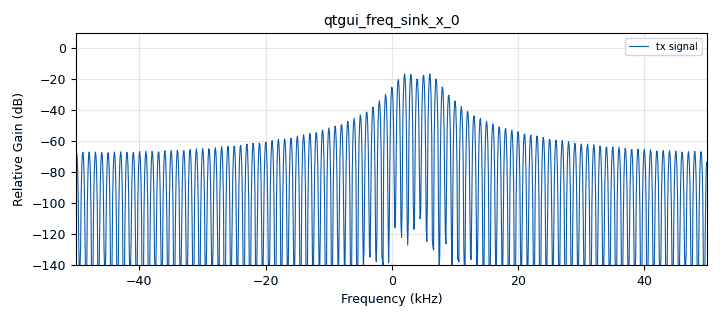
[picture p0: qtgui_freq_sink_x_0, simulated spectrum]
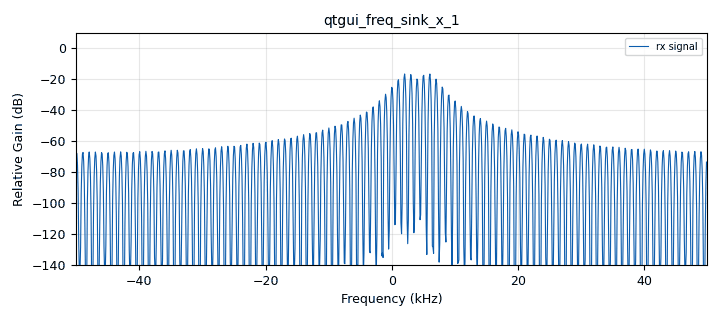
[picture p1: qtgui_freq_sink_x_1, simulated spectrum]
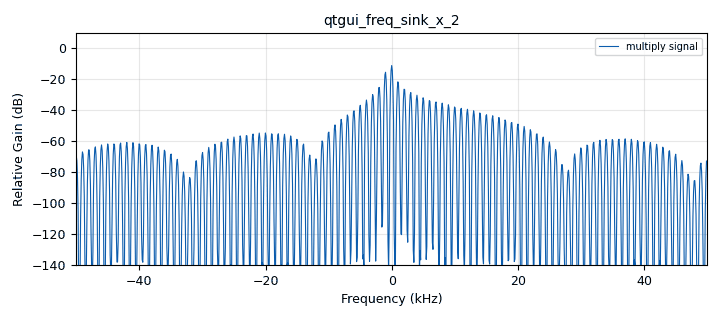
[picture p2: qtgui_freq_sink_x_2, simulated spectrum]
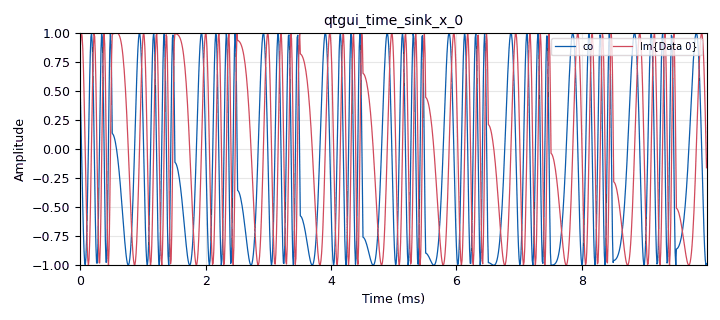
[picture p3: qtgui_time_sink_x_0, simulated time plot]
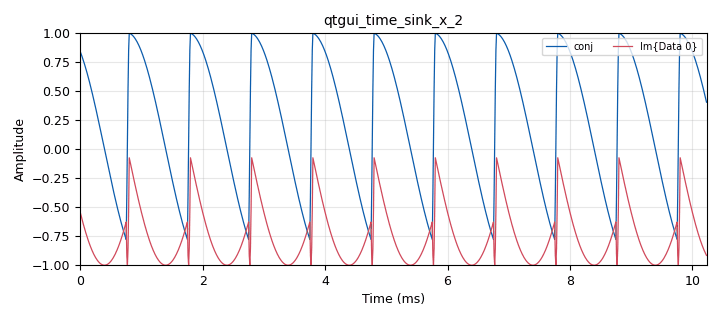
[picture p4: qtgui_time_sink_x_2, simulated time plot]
options:
  parameters:
    author: Preethi
    generate_options: qt_gui
    id: oct3
    output_language: python
    title: Not titled yet
  states: {}

blocks:
- name: samp_rate
  id: variable
  parameters:
    value: '100000'
  states: {}
- name: analog_sig_source_x_0
  id: analog_sig_source_x
  parameters:
    amp: '1'
    freq: '1000'
    offset: '0'
    phase: '0'
    samp_rate: samp_rate
    type: float
    waveform: analog.GR_SAW_WAVE
  states: {}
- name: blocks_delay_0
  id: blocks_delay
  parameters:
    delay: '5'
    type: complex
  states: {}
- name: blocks_file_sink_0
  id: blocks_file_sink
  parameters:
    file: C:\Users\Preethi\Desktop\SDR\beat.dat
    type: complex
  states: {}
- name: blocks_multiply_conjugate_cc_0
  id: blocks_multiply_conjugate_cc
  parameters: {}
  states: {}
- name: blocks_throttle2_0
  id: blocks_throttle2
  parameters:
    samples_per_second: samp_rate
    type: float
  states: {}
- name: blocks_vco_c_0
  id: blocks_vco_c
  parameters:
    amplitude: '1'
    samp_rate: 100e3
    sensitivity: '50265'
  states: {}
- name: qtgui_freq_sink_x_0
  id: qtgui_freq_sink_x
  parameters:
    bw: samp_rate
    fc: '0'
    fftsize: '1024'
    label1: tx signal
    type: complex
  states: {}
- name: qtgui_freq_sink_x_1
  id: qtgui_freq_sink_x
  parameters:
    bw: samp_rate
    fc: '0'
    fftsize: '1024'
    label1: rx signal
    type: complex
  states: {}
- name: qtgui_freq_sink_x_2
  id: qtgui_freq_sink_x
  parameters:
    bw: samp_rate
    fc: '0'
    fftsize: '1024'
    label1: multiply signal
    type: complex
  states: {}
- name: qtgui_time_sink_x_0
  id: qtgui_time_sink_x
  parameters:
    label1: co
    size: '1000'
    srate: samp_rate
    type: complex
  states: {}
- name: qtgui_time_sink_x_2
  id: qtgui_time_sink_x
  parameters:
    label1: conj
    size: '1024'
    srate: samp_rate
    type: complex
  states: {}
- name: virtual_sink_0
  id: virtual_sink
  parameters:
    stream_id: tx_chirp
  states: {}
- name: virtual_sink_1
  id: virtual_sink
  parameters:
    stream_id: rx_chirp
  states: {}
- name: virtual_source_0
  id: virtual_source
  parameters:
    stream_id: tx_chirp
  states: {}
- name: virtual_source_0_0
  id: virtual_source
  parameters:
    stream_id: rx_chirp
  states: {}

connections:
- [analog_sig_source_x_0, '0', blocks_throttle2_0, '0']
- [blocks_delay_0, '0', qtgui_freq_sink_x_1, '0']
- [blocks_delay_0, '0', virtual_sink_1, '0']
- [blocks_multiply_conjugate_cc_0, '0', blocks_file_sink_0, '0']
- [blocks_multiply_conjugate_cc_0, '0', qtgui_freq_sink_x_2, '0']
- [blocks_multiply_conjugate_cc_0, '0', qtgui_time_sink_x_2, '0']
- [blocks_throttle2_0, '0', blocks_vco_c_0, '0']
- [blocks_vco_c_0, '0', qtgui_freq_sink_x_0, '0']
- [blocks_vco_c_0, '0', qtgui_time_sink_x_0, '0']
- [blocks_vco_c_0, '0', virtual_sink_0, '0']
- [virtual_source_0, '0', blocks_delay_0, '0']
- [virtual_source_0, '0', blocks_multiply_conjugate_cc_0, '1']
- [virtual_source_0_0, '0', blocks_multiply_conjugate_cc_0, '0']

metadata:
  file_format: 1
  grc_version: 3.10.12.0
